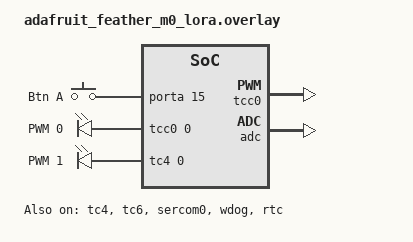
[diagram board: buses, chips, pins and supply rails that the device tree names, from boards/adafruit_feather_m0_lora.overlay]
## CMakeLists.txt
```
# SPDX-License-Identifier: Apache-2.0

cmake_minimum_required(VERSION 3.20.0)

find_package(Zephyr REQUIRED HINTS $ENV{ZEPHYR_BASE})
project(sam0_pwr_test)

add_subdirectory(../common lora-common)

FILE(GLOB app_sources src/*.c)
target_sources(app PRIVATE ${app_sources} ${common_sources} ${common_board_sources})
```

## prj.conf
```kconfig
# General Zephyr settings
CONFIG_MAIN_STACK_SIZE=2048
CONFIG_SYSTEM_WORKQUEUE_STACK_SIZE=4096
#CONFIG_THREAD_NAME=y
CONFIG_LOG=y
#CONFIG_LOG_MODE_MINIMAL=y
CONFIG_LOG_BUFFER_SIZE=4096
#CONFIG_LOG_BLOCK_IN_THREAD=y
CONFIG_LOG_PROCESS_THREAD_SLEEP_MS=250

CONFIG_PM=y
CONFIG_PM_DEVICE=y
CONFIG_PM_STATS=y
#CONFIG_PM_LOG_LEVEL_DBG=y
CONFIG_CLOCK_CONTROL=y
#CONFIG_CLOCK_CONTROL_LOG_LEVEL_DBG=y

# Use SAM0 RTC driver instead of Cortex M for system clock
CONFIG_CORTEX_M_SYSTICK=n
CONFIG_SAM0_RTC_TIMER=y
CONFIG_TIMESLICING=n
CONFIG_SYSTEM_CLOCK_SLOPPY_IDLE=y
#CONFIG_ISR_TABLE_COUNT=y
#CONFIG_DYNAMIC_INTERRUPTS=y

# hwinfo for unique ID
CONFIG_REBOOT=y

# PWM for LEDs and ADC for reading battery & temperature
CONFIG_ADC=y
CONFIG_PWM=y
#CONFIG_PWM_LOG_LEVEL_DBG=y
CONFIG_LED=y
CONFIG_LED_PWM=y
# Enable all clock clients to get full init
CONFIG_COUNTER=y
CONFIG_WATCHDOG=y
CONFIG_RTC=y
#CONFIG_GPIO_LOG_LEVEL_DBG=y

CONFIG_SHELL=y
CONFIG_STATS=y
CONFIG_DEVMEM_SHELL=y
CONFIG_STATS_SHELL=y

# Debugging
#CONFIG_STACK_CANARIES_ALL=y
#CONFIG_ASSERT=y

# USB CDC/ACM
CONFIG_SERIAL=y
CONFIG_USB_DEVICE_STACK=y
CONFIG_USB_DEVICE_INITIALIZE_AT_BOOT=n
CONFIG_USB_CDC_ACM_LOG_LEVEL_OFF=y
CONFIG_USB_DEVICE_LOG_LEVEL_OFF=y
CONFIG_USB_SELF_POWERED=n
## Value reported is twice this
CONFIG_USB_MAX_POWER=250

# Bootloader support
CONFIG_BOOTLOADER_BOSSA=y
CONFIG_BOOTLOADER_BOSSA_DEVICE_NAME="board_cdc_acm_uart"
CONFIG_BOOTLOADER_BOSSA_ADAFRUIT_UF2=y
```

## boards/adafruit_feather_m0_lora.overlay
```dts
#include <feather-m0-flash-layout.dtsi>
#include <../boards/common/usb/cdc_acm_serial.dtsi>
#include <dt-bindings/gpio/atmel-sam0-gpio.h>

/ {
	chosen {
		zephyr,console = &sercom0;
		zephyr,shell-uart = &sercom0;
		zephyr,code-partition = &slot0_partition;
	};	

	aliases {
		btn0 = &button0;
	};

	buttons {
		compatible = "gpio-keys";

		button0: button_0 {
			gpios = <&porta 15 (GPIO_PULL_DOWN | GPIO_ACTIVE_HIGH | SAM0_GPIO_DEBOUNCE)>;
			label = "Btn A";
		};
	};

	pwmleds {
		compatible = "pwm-leds";

		pwm_led0: pwm_led_0 {
			pwms = <&tcc0 0 PWM_MSEC(5)>;
			label = "PWM 0";
		};

		pwm_led1: pwm_led_1 {
			pwms = <&tc4 0 PWM_MSEC(5)>;
			label = "PWM 1";
		};
	};

};

&tcc0 {
	compatible = "atmel,sam0-tcc-pwm";
	status = "okay";
	prescaler = <2>;
	#pwm-cells = <2>;
};

&tcc1 {
	status = "disabled";
};

&tc4 {
	compatible = "atmel,sam0-tc-pwm";
	status = "okay";
	counter-size = <16>;
	prescaler = <2>;
	channels = <2>;
	#pwm-cells = <2>;
};

&tc6 {
	compatible = "atmel,sam0-tc32";
	status = "okay";
	prescaler = <2>;
	#pwm-cells = <2>;
};

&sercom3 {
	status = "disabled";
};

&sercom0 {
	status = "okay";
};

&adc {
	status = "okay";
	#address-cells = <1>;
	#size-cells = <0>;
};

&wdog {
	status = "okay";
};

&rtc {
	status = "okay";
	counter-mode = "clock";
	prescaler = <1>;
	systimer;
};
```

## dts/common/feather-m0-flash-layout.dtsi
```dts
&flash0 {
	/* Write size set to 4 in samd2x.dtsi but TRM seems to indicate a write page size of 64 B */
	/* write-block-size = <64>; */
	erase-block-size = <256>;

	partitions {
		boot_partition: partition@0 {
			label = "sam-ba";
			reg = <0x00000000 DT_SIZE_K(8)>;
			read-only;
		};

		slot0_partition: partition@2000 {
			label = "slot0";
			reg = <0x02000 DT_SIZE_K(116)>;
			read-only;
		};

		slot1_partition: partition@1f000 {
			label = "slot1";
			reg = <0x1f000 DT_SIZE_K(116)>;
			read-only;
		};

		storage_partition: partition@3c000 {
			label = "storage";
			reg = <0x0003c000 DT_SIZE_K(16)>;
		};
	};
};
```

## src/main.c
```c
/*
 * LoRaWAN FUOTA sample application
 *
 * Copyright (c) 2022-2024 Libre Solar Technologies GmbH
 * Copyright (c) 2022-2024 tado GmbH
 *
 * SPDX-License-Identifier: Apache-2.0
 */

#include <zephyr/device.h>
#include <zephyr/kernel.h>
#include <zephyr/drivers/gpio.h>
#include <zephyr/usb/usb_device.h>
#include <zephyr/pm/policy.h>
#include <zephyr/logging/log.h>
#include "buttons.h"
#include "pm.h"

#define LED0_NODE DT_ALIAS(led0)
static const struct gpio_dt_spec led = GPIO_DT_SPEC_GET(LED0_NODE, gpios);

LOG_MODULE_REGISTER(main, LOG_LEVEL_INF);

int main(void)
{
	int ret;

	usb_enable(NULL);

	ret = gpio_pin_configure_dt(&led, GPIO_OUTPUT_ACTIVE);
	if (ret < 0) {
		LOG_ERR("Failed to configure LED pin");
	}

	ret = gpio_pin_set_dt(&led, 0);
	if (ret < 0) {
		LOG_ERR("Failed to turn off primary LED");
	}

	ret = button_init();

	LOG_INF("Running");

	while (1) {
		k_msleep(5000);
		LOG_INF("wakeup");

		pm_sysclock_force_active();
		k_msleep(5000);
		LOG_INF("wakeup2");

		pm_sysclock_allow_idle();
	}

	return 0;
}
```

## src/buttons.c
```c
#include <zephyr/kernel.h>
#include <zephyr/drivers/gpio.h>
#include <zephyr/logging/log.h>
#include <inttypes.h>

#include "buttons.h"

LOG_MODULE_REGISTER(buttons, LOG_LEVEL_INF);

static const struct gpio_dt_spec buttons[] = {
        GPIO_DT_SPEC_GET(DT_ALIAS(btn0), gpios),
};

static struct gpio_callback gpio_callback;

static void button_irq_callback(const struct device *dev,
				struct gpio_callback *cb, uint32_t pins)
{
	LOG_DBG("Got button press");
}

int button_init(void)
{
	int ret;
	int i;
	gpio_port_pins_t mask = 0;

        for (i=0; i < ARRAY_SIZE(buttons); i++) {
		if (i > 0 && buttons[i].port != buttons[0].port) {
			LOG_ERR("All buttons must be on the same port!");
			return -EINVAL;
		}

		if (!gpio_is_ready_dt(&buttons[i])) {
			LOG_ERR("button device %s is not ready",
			buttons[i].port->name);
			return -ENOENT;
		}

		ret = gpio_pin_configure_dt(&buttons[i], GPIO_INPUT);
		if (ret != 0) {
			LOG_ERR("failed to configure %s pin %d: %d",
			buttons[i].port->name, buttons[i].pin, ret);
			return ret;
		}

		ret = gpio_pin_interrupt_configure_dt(&buttons[i], GPIO_INT_EDGE_BOTH);
		if (ret != 0) {
			LOG_ERR("failed to configure interrupt on %s pin %d: %d",
			buttons[i].port->name, buttons[i].pin, ret);
			return ret;
		}

		mask |= BIT(buttons[i].pin);
	}

	LOG_DBG("Init GPIO callback with mask %08x", mask);
	gpio_init_callback(&gpio_callback,
			button_irq_callback,
			mask);

	ret = gpio_add_callback(buttons[0].port, &gpio_callback);
	if (ret < 0) {
		LOG_ERR("Could not set gpio callback.");
		return -EINVAL;
	}

	return 0;
}

uint8_t button_poll(void) {
	uint8_t val = 0;

	for (int i=0; i < ARRAY_SIZE(buttons); i++) {
		val = (val << 1) | (uint8_t)gpio_pin_get_dt(&buttons[i]);
	}

	return val;
}
```

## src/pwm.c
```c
#include <zephyr/kernel.h>
#include <zephyr/drivers/counter.h>
#include <zephyr/drivers/pwm.h>
#include <zephyr/logging/log.h>

#include "pwm.h"

LOG_MODULE_REGISTER(pwm, LOG_LEVEL_INF);

#define DT_SPEC_AND_COMMA(node_id, prop, idx) \
	ADC_DT_SPEC_GET_BY_IDX(node_id, idx),

/* Data of ADC io-channels specified in devicetree. */
static const struct pwm_dt_spec pwm_channels[N_LEDS] = {
	PWM_DT_SPEC_GET(DT_ALIAS(pwm_led)),
};

int pwm_init(void) {
	int ret;
	
	for (size_t i = 0U; i < N_LEDS; i++) {
		if (!pwm_is_ready_dt(&pwm_channels[i])) {
			LOG_ERR("PWM device %d %s is not ready: %d\n",
				i, pwm_channels[i].dev->name, ret);
			return -1;
		}

		ret = pwm_set_pulse_dt(&pwm_channels[i], 0);
		if (ret) {
			LOG_ERR("failed to clear channel %d: %d\n", i, ret);
			return ret;
		}
	}

	return 0;
}

int pwm_set2(uint16_t channel, uint32_t pulse_width) {
	if (channel >= N_LEDS) {
		return -EINVAL;
	}

	int ret = pwm_set_pulse_dt(&pwm_channels[channel], pulse_width);
	if (ret) {
		LOG_ERR("failed to set pulse width %d ns on channel %d: %d\n", pulse_width, channel, ret);
		return ret;
	}

	return 0;
}
```

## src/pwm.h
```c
#ifndef __PWM_H__
#define __PWM_H__

#include <stdint.h>

#define N_LEDS	1

/* Change this if base PWM period changes */
#define DUTY_ONE_PCT    (5000000/100)
#define DUTY_PCT(pct)   (pct*DUTY_ONE_PCT)

int pwm_init(void);
int pwm_set2(uint16_t channel, uint32_t pulse_width);

#endif /* __PWM_H__ */
```
